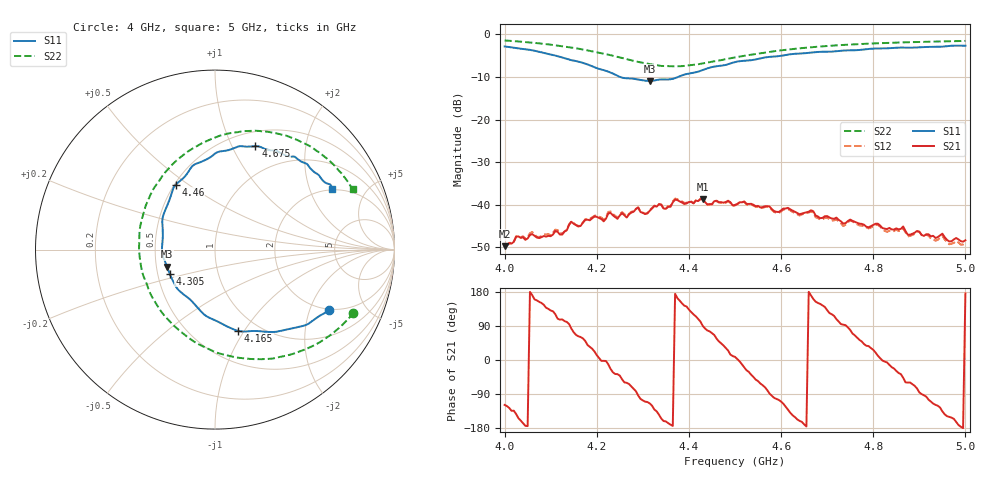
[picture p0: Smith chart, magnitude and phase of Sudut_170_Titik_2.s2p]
# Hz S RI R 50
! CMT, C1220, 16058040, 17.2.0/1
! Date: 15/08/2018 11:42:19
! Data: Format (Calibration Info)
! Freq  S11: Re/Im (F2)  S21: Re/Im (F2)  S12: Re/Im (F2)  S22: Re/Im (F2)
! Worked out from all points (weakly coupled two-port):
!   201 points, 4 GHz to 5 GHz, reference 50 ohm
!   highest |S21| = -38.63 dB at 4.43 GHz (marker M1); lowest = -49.7 dB at 4 GHz (marker M2)
!   lowest |S11| = -10.9 dB at 4.315 GHz (marker M3), VSWR 1.79, Z = 28.4 - j5.85 ohm
!   |S11| at or under -10 dB: 4.251 GHz to 4.377 GHz (125.9 MHz wide, 2.92 % of centre)
!   |S22| runs from -7.5 to -1.4 dB; largest |S21 - S12| = 0.00041
!   S11 on the Smith chart (normalised r, x): 4 GHz: 1.95, -2.75; 4.165 GHz: 0.81, -0.94; 4.305 GHz: 0.58, -0.17; 4.46 GHz: 0.51, +0.45; 4.675 GHz: 0.66, +1.24; 5 GHz: 1.97, +2.89
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4e9  0.637 -0.3381  -0.00156 -0.00287  -0.00152 -0.00298  0.7715 -0.3525
4.06e9  0.4921 -0.4248  -0.00446 0.000706  -0.00474 0.000645  0.6405 -0.478
4.125e9  0.2776 -0.4575  -0.00132 0.00426  -0.0013 0.0044  0.4369 -0.5801
4.145e9  0.2045 -0.4536  0.000815 0.00626  0.000667 0.00638  0.3611 -0.598
4.165e9  0.1294 -0.453  0.00277 0.00492  0.00267 0.00501  0.2826 -0.6095
4.17e9  0.1137 -0.4482  0.00337 0.00518  0.00325 0.00529  0.262 -0.6105
4.215e9  -0.0337 -0.379  0.00638 -0.000258  0.0067 -0.000114  0.0654 -0.5892
4.23e9  -0.0744 -0.3485  0.00736 -0.00323  0.00766 -0.00328  -0.002 -0.5693
4.265e9  -0.173 -0.2513  0.00352 -0.00615  0.00346 -0.00637  -0.1493 -0.4895
4.29e9  -0.2295 -0.1844  -0.000632 -0.00922  -0.000704 -0.00931  -0.2451 -0.4067
4.305e9  -0.2529 -0.1341  -0.00265 -0.00732  -0.00265 -0.00738  -0.2945 -0.3519
4.315e9  -0.2677 -0.0945  -0.00354 -0.00773  -0.00363 -0.00787  -0.3237 -0.3088
4.335e9  -0.2929 -0.0288  -0.00825 -0.00593  -0.00826 -0.00593  -0.3717 -0.2167
4.35e9  -0.2948 0.0199  -0.00853 -0.00275  -0.00857 -0.0029  -0.3997 -0.1448
4.37e9  -0.2907 0.0963  -0.0114 0.00107  -0.0117 0.0012  -0.4192 -0.0452
4.43e9  -0.2498 0.288  9.93e-06 0.0117  0.000312 0.0116  -0.3862 0.2442
4.46e9  -0.2186 0.3615  0.00617 0.0093  0.0063 0.00909  -0.3258 0.3631
4.5e9  -0.1356 0.453  0.00986 0.00143  0.00973 0.00139  -0.2242 0.4875
4.67e9  0.2176 0.575  -0.00791 0.00275  -0.00757 0.0028  0.2595 0.659
4.675e9  0.2256 0.5758  -0.00673 0.00329  -0.00635 0.00323  0.2722 0.6591
4.835e9  0.4833 0.4889  0.00521 -0.00119  0.00483 -0.00106  0.5871 0.536
5e9  0.6545 0.337  -0.00382 0.000302  -0.00354 0.000144  0.7663 0.3372
